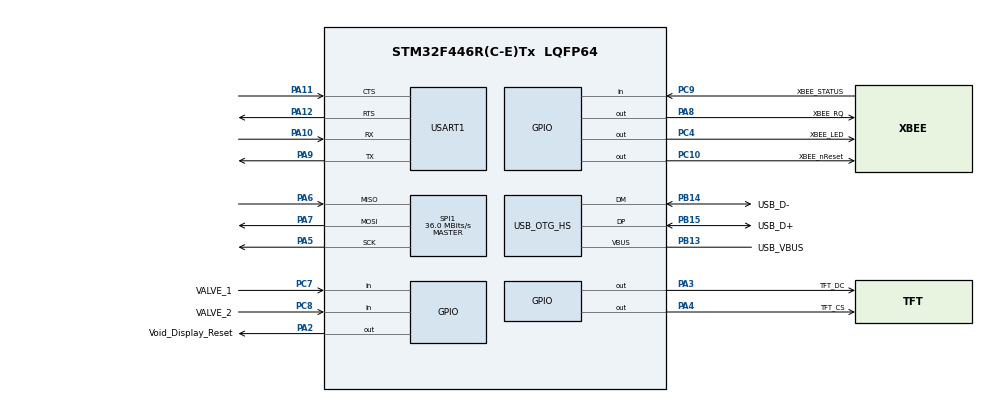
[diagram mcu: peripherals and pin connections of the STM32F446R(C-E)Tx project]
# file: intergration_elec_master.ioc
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Dma.Request0=SPI1_TX
Dma.SPI1_TX.0.Direction=DMA_MEMORY_TO_PERIPH
Dma.SPI1_TX.0.FIFOMode=DMA_FIFOMODE_DISABLE
Dma.SPI1_TX.0.Instance=DMA2_Stream3
Dma.SPI1_TX.0.MemDataAlignment=DMA_MDATAALIGN_BYTE
Dma.SPI1_TX.0.MemInc=DMA_MINC_ENABLE
Dma.SPI1_TX.0.Mode=DMA_NORMAL
Dma.SPI1_TX.0.PeriphDataAlignment=DMA_PDATAALIGN_BYTE
Dma.SPI1_TX.0.PeriphInc=DMA_PINC_DISABLE
Dma.SPI1_TX.0.Priority=DMA_PRIORITY_LOW
Mcu.Family=STM32F4
Mcu.Name=STM32F446R(C-E)Tx
Mcu.Package=LQFP64
NVIC.DMA2_Stream3_IRQn=true\:0\:0\:false\:false\:true\:false\:true\:true
NVIC.OTG_HS_IRQn=true\:0\:0\:false\:false\:true\:false\:true\:true
NVIC.PriorityGroup=NVIC_PRIORITYGROUP_4
NVIC.SPI1_IRQn=true\:0\:0\:false\:false\:true\:true\:true\:true
PA10.Mode=Asynchronous
PA10.Signal=USART1_RX
PA11.Mode=CTS_RTS
PA11.Signal=USART1_CTS
PA12.Mode=CTS_RTS
PA12.Signal=USART1_RTS
PA13.Mode=Serial_Wire
PA13.Signal=SYS_JTMS-SWDIO
PA14.Mode=Serial_Wire
PA14.Signal=SYS_JTCK-SWCLK
PA2.GPIO_Label=Void_Display_Reset
PA2.Signal=GPIO_Output
PA3.GPIO_Label=TFT_DC
PA3.Signal=GPIO_Output
PA4.GPIO_Label=TFT_CS
PA4.Signal=GPIO_Output
PA5.Mode=Full_Duplex_Master
PA5.Signal=SPI1_SCK
PA6.Mode=Full_Duplex_Master
PA6.Signal=SPI1_MISO
PA7.Mode=Full_Duplex_Master
PA7.Signal=SPI1_MOSI
PA8.GPIO_Label=XBEE_RQ
PA8.Signal=GPIO_Output
PA9.Mode=Asynchronous
PA9.Signal=USART1_TX
PB13.GPIO_Label=USB_VBUS
PB13.Mode=Activate_VBUS_FS
PB13.Signal=USB_OTG_HS_VBUS
PB14.GPIO_Label=USB_D-
PB14.Mode=Device_Only_FS
PB14.Signal=USB_OTG_HS_DM
PB15.GPIO_Label=USB_D+
PB15.Mode=Device_Only_FS
PB15.Signal=USB_OTG_HS_DP
PC10.GPIO_Label=XBEE_nReset
PC10.Signal=GPIO_Output
PC4.GPIO_Label=XBEE_LED
PC4.Signal=GPIO_Output
PC7.GPIO_Label=VALVE_1
PC7.GPIO_PuPd=GPIO_PULLDOWN
PC7.Signal=GPIO_Input
PC8.GPIO_Label=VALVE_2
PC8.GPIO_PuPd=GPIO_PULLDOWN
PC8.Signal=GPIO_Input
PC9.GPIO_Label=XBEE_STATUS
PC9.Signal=GPIO_Input
PH0-OSC_IN.Mode=HSE-External-Oscillator
PH0-OSC_IN.Signal=RCC_OSC_IN
PH1-OSC_OUT.Mode=HSE-External-Oscillator
PH1-OSC_OUT.Signal=RCC_OSC_OUT
ProjectManager.HeapSize=0x200
ProjectManager.StackSize=0x400
ProjectManager.TargetToolchain=STM32CubeIDE
SPI1.BaudRatePrescaler=SPI_BAUDRATEPRESCALER_2
SPI1.CalculateBaudRate=36.0 MBits/s
SPI1.Direction=SPI_DIRECTION_2LINES
SPI1.Mode=SPI_MODE_MASTER
SPI1.VirtualType=VM_MASTER
USART1.VirtualMode=VM_ASYNC
USB_DEVICE.CLASS_NAME_HS=CDC
USB_DEVICE.VirtualMode-CDC_HS=Cdc
USB_DEVICE.VirtualModeHS=Cdc_HS
USB_OTG_HS.VirtualMode-Device_Only_FS=Device_Only_FS
VP_USB_DEVICE_VS_USB_DEVICE_CDC_HS.Mode=CDC_HS
board=custom

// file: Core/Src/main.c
/* USER CODE BEGIN Header */
/**
  ******************************************************************************
  * @file           : main.c
  * @brief          : Main program body
  ******************************************************************************
  * @attention
  *
  * Copyright (c) 2026 STMicroelectronics.
  * All rights reserved.
  *
  * This software is licensed under terms that can be found in the LICENSE file
  * in the root directory of this software component.
  * If no LICENSE file comes with this software, it is provided AS-IS.
  *
  ******************************************************************************
  */
/* USER CODE END Header */
#include "main.h"
#include "dma.h"
#include "spi.h"
#include "usart.h"
#include "usb_device.h"
#include "gpio.h"

/* USER CODE BEGIN Includes */
//#include "ili9341.h"
//#include "ili9341_gfx.h"
#include <stdio.h>
#include <stdbool.h>
/* USER CODE END Includes */

/* USER CODE BEGIN PV */
//ili9341_t *_screen;
static volatile int valve_1 = 1;
static volatile int valve_2 = 1;
/* USER CODE END PV */

void SystemClock_Config(void);

int main(void)
{

  /* MCU Configuration--------------------------------------------------------*/

  /* Reset of all peripherals, Initializes the Flash interface and the Systick. */
  HAL_Init();

  /* Configure the system clock */
  SystemClock_Config();

  /* Initialize all configured peripherals */
  MX_GPIO_Init();
  MX_DMA_Init();
  MX_SPI1_Init();
  MX_USART1_UART_Init();
  MX_USB_DEVICE_Init();
  /* USER CODE BEGIN 2 */

//  _screen = ili9341_new(
//   &hspi1,
//  Void_Display_Reset_GPIO_Port, Void_Display_Reset_Pin,
//  TFT_CS_GPIO_Port, TFT_CS_Pin,
//   TFT_DC_GPIO_Port, TFT_DC_Pin,
//  isoLandscape,
//   NULL, NULL,
//   NULL, NULL,
//   itsNotSupported,
//   itnNormalized);
//  ili9341_fill_screen(_screen, ILI9341_BLACK);
//  ili9341_draw_line(_screen, ILI9341_YELLOW, 50, 200, 200,
//  200);
//  ili9341_draw_rect(_screen, ILI9341_BLUE, 40, 40, 50, 100);
//  ili9341_draw_circle(_screen, ILI9341_RED, 250, 100, 50);
//  ili9341_text_attr_t text_attr = {&ili9341_font_11x18,
//  ILI9341_WHITE, ILI9341_BLACK,0,0};
//  char text[] = {"! Hello !"};
//  ili9341_draw_string(_screen, text_attr,text);

  __HAL_RCC_GPIOC_CLK_ENABLE();

  volatile uint32_t moder_val = 0;
  volatile uint32_t idr_val = 0;
  volatile uint32_t odr_val = 0;
  volatile uint32_t rcc_val = 0;
  /* USER CODE END 2 */

  /* Infinite loop */
  while (1)
  {

    /* USER CODE BEGIN 3 */

	    uint32_t idr = GPIOC->IDR;
	    int v1 = (idr >> 7) & 1U;  // PC7
	    int v2 = (idr >> 8) & 1U;  // PC8

	    for(volatile uint32_t i = 0; i < 100000; i++);  // debounce

	    idr = GPIOC->IDR;
	    v1 &= (idr >> 7) & 1U;  // still high after debounce?
	    v2 &= (idr >> 8) & 1U;

	    valve_1 = v1;
	    valve_2 = v2;

	    if(v1 ^ v2)
	        GPIOC->ODR |= (1U << 4);   // LED ON
	    else
	        GPIOC->ODR &= ~(1U << 4);  // LED OFF

//	  if(HAL_GPIO_ReadPin(VALVE_1_GPIO_Port, VALVE_1_Pin) == 1){
//		  valve_1 = 1;
//	  }
//
//	  if(HAL_GPIO_ReadPin(VALVE_2_GPIO_Port, VALVE_2_Pin) == 1){
//		  valve_2 = 1;
//	  }
//
//	    HAL_GPIO_TogglePin(XBEE_LED_GPIO_Port, XBEE_LED_Pin);
//	    HAL_Delay(500);

  }
  /* USER CODE END 3 */
}

void SystemClock_Config(void)
{
  RCC_OscInitTypeDef RCC_OscInitStruct = {0};
  RCC_ClkInitTypeDef RCC_ClkInitStruct = {0};

  /** Configure the main internal regulator output voltage
  */
  __HAL_RCC_PWR_CLK_ENABLE();
  __HAL_PWR_VOLTAGESCALING_CONFIG(PWR_REGULATOR_VOLTAGE_SCALE3);

  /** Initializes the RCC Oscillators according to the specified parameters
  * in the RCC_OscInitTypeDef structure.
  */
  RCC_OscInitStruct.OscillatorType = RCC_OSCILLATORTYPE_HSI;
  RCC_OscInitStruct.HSIState = RCC_HSI_ON;
  RCC_OscInitStruct.HSICalibrationValue = RCC_HSICALIBRATION_DEFAULT;
  RCC_OscInitStruct.PLL.PLLState = RCC_PLL_ON;
  RCC_OscInitStruct.PLL.PLLSource = RCC_PLLSOURCE_HSE;
  RCC_OscInitStruct.PLL.PLLM = 16;
  RCC_OscInitStruct.PLL.PLLN = 192;
  RCC_OscInitStruct.PLL.PLLP = RCC_PLLP_DIV2;
  RCC_OscInitStruct.PLL.PLLQ = 2;
  RCC_OscInitStruct.PLL.PLLR = 2;
  if (HAL_RCC_OscConfig(&RCC_OscInitStruct) != HAL_OK)
  {
    Error_Handler();
  }

  /** Initializes the CPU, AHB and APB buses clocks
  */
  RCC_ClkInitStruct.ClockType = RCC_CLOCKTYPE_HCLK|RCC_CLOCKTYPE_SYSCLK
                              |RCC_CLOCKTYPE_PCLK1|RCC_CLOCKTYPE_PCLK2;
  RCC_ClkInitStruct.SYSCLKSource = RCC_SYSCLKSOURCE_HSI;
  RCC_ClkInitStruct.AHBCLKDivider = RCC_SYSCLK_DIV1;
  RCC_ClkInitStruct.APB1CLKDivider = RCC_HCLK_DIV1;
  RCC_ClkInitStruct.APB2CLKDivider = RCC_HCLK_DIV1;

  if (HAL_RCC_ClockConfig(&RCC_ClkInitStruct, FLASH_LATENCY_0) != HAL_OK)
  {
    Error_Handler();
  }
}

void Error_Handler(void)
{
  __disable_irq();
  while (1)
  {
  }
}
